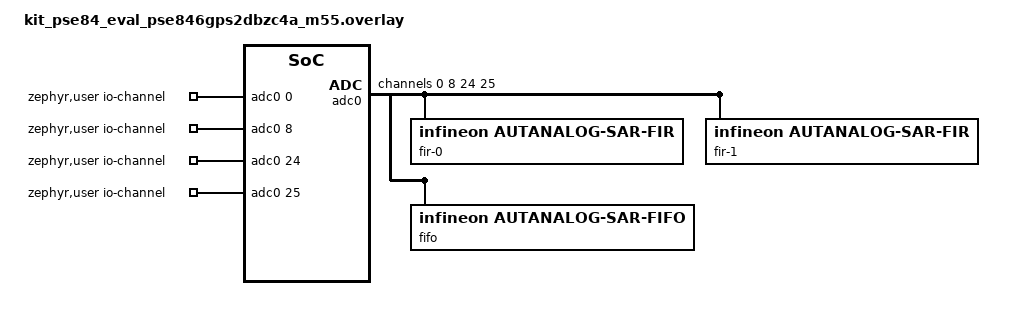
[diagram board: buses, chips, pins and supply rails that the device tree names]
/*
 * SPDX-FileCopyrightText: <text>Copyright (c) 2026 Infineon Technologies AG,
 * or an affiliate of Infineon Technologies AG. All rights reserved.</text>
 *
 * SPDX-License-Identifier: Apache-2.0
 */

#include <zephyr/dt-bindings/adc/adc.h>
#include <zephyr/dt-bindings/adc/infineon-autanalog-sar.h>

/ {
	zephyr,user {
		/* ADC channels: GPIO ch0, MUX ch0, FIR0, FIR1 */
		io-channels = <&adc0 0>, <&adc0 8>, <&adc0 24>, <&adc0 25>;
	};
};

&adc0 {
	status = "okay";
	#address-cells = <1>;
	#size-cells = <0>;

	channel@0 {
		reg = <0>;
		zephyr,acquisition-time = <ADC_ACQ_TIME(ADC_ACQ_TIME_MICROSECONDS, 1)>;
		zephyr,gain = "ADC_GAIN_1";
		zephyr,reference = "ADC_REF_INTERNAL";
		zephyr,resolution = <12>;
		zephyr,input-positive = <0>;   /* P15.0 */
		fifo-sel = <IFX_AUTANALOG_SAR_FIFO_0>;
	};

	/* MUX channel: P15.0 via internal MUX routing.
	 * Channel ID 8 = MUX channel index 0.
	 */
	channel@8 {
		reg = <8>;
		zephyr,acquisition-time = <ADC_ACQ_TIME(ADC_ACQ_TIME_MICROSECONDS, 1)>;
		zephyr,gain = "ADC_GAIN_1";
		zephyr,reference = "ADC_REF_INTERNAL";
		zephyr,resolution = <12>;
		zephyr,input-positive = <IFX_AUTANALOG_SAR_PIN_MUX_GPIO0>;
		mux-buf-bypass;
		fifo-sel = <IFX_AUTANALOG_SAR_FIFO_1>;
	};

	/* FIR0 pseudo-channel */
	channel@18 {
		reg = <24>;
		zephyr,acquisition-time = <ADC_ACQ_TIME(ADC_ACQ_TIME_MICROSECONDS, 1)>;
		zephyr,gain = "ADC_GAIN_1";
		zephyr,reference = "ADC_REF_INTERNAL";
		zephyr,resolution = <12>;
		zephyr,input-positive = <IFX_AUTANALOG_SAR_FIR_CH_GPIO0>;
		fifo-sel = <IFX_AUTANALOG_SAR_FIFO_2>;
	};

	/* FIR1 pseudo-channel */
	channel@19 {
		reg = <25>;
		zephyr,acquisition-time = <ADC_ACQ_TIME(ADC_ACQ_TIME_MICROSECONDS, 1)>;
		zephyr,gain = "ADC_GAIN_1";
		zephyr,reference = "ADC_REF_INTERNAL";
		zephyr,resolution = <12>;
		zephyr,input-positive = <IFX_AUTANALOG_SAR_FIR_CH_GPIO0>;
		fifo-sel = <IFX_AUTANALOG_SAR_FIFO_3>;
	};

	/* FIR filter 0: 4-tap moving average on GPIO channel 0 (P15.0).
	 * Each coefficient is 0.25 in Q1.15 fixed-point (0x2000).
	 */
	fir-0 {
		compatible = "infineon,autanalog-sar-fir";
		coefficients = <0x2000 0x2000 0x2000 0x2000>;
	};

	fir-1 {
		compatible = "infineon,autanalog-sar-fir";
		/* Filter coefficients populated in app */
	};

	/* FIFO: 4 x 128-word buffers.
	 * Buffer 0: raw GPIO ch0
	 * Buffer 1: mux GPIO ch0
	 * Buffer 2: FIR0
	 * Buffer 3: FIR1
	 */
	fifo {
		compatible = "infineon,autanalog-sar-fifo";
		fifo-levels = <4 4 4 4>;
	};
};

&gpio_prt15 {
	status = "okay";
};
